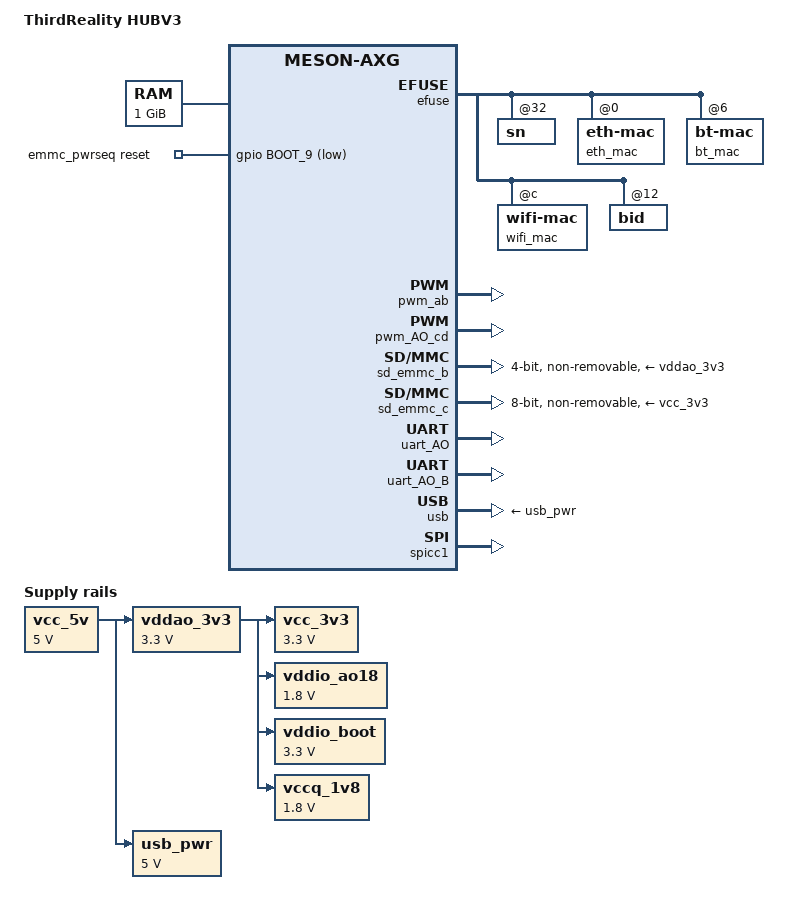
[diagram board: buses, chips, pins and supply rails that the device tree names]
// SPDX-License-Identifier: (GPL-2.0+ OR MIT)
/*
 * Copyright (c) 2024 ThirdReality, Inc.
 * Author: Tianwei Ge <gtweiiiii@gmail.com>
 */

/dts-v1/;

#include "meson-axg.dtsi"
#include <dt-bindings/input/input.h>
#include <dt-bindings/thermal/thermal.h>

/ {
	compatible = "thirdreality,hubv3", "amlogic,a113d", "amlogic,meson-axg";
	model = "ThirdReality HUBV3";

	aliases {
		serial0 = &uart_AO; /* Console */
		serial1 = &uart_A; /* Bluetooth */
		serial3 = &uart_AO_B; /* Zigbee */
	};

	/* 1024MB RAM */
	memory@0 {
		device_type = "memory";
		reg = <0x0 0x0 0x0 0x40000000>;
	};

	chosen {
		stdout-path = "serial0:115200n8";
	};

	reserved-memory {
		linux,cma {
			size = <0x0 0x400000>;
		};
	};

	emmc_pwrseq: emmc-pwrseq {
		compatible = "mmc-pwrseq-emmc";
		reset-gpios = <&gpio BOOT_9 GPIO_ACTIVE_LOW>;
	};

	vcc_3v3: regulator-vcc_3v3 {
		compatible = "regulator-fixed";
		regulator-name = "VCC_3V3";
		regulator-min-microvolt = <3300000>;
		regulator-max-microvolt = <3300000>;
		vin-supply = <&vddao_3v3>;
		regulator-always-on;
	};

	vcc_5v: regulator-vcc_5v {
		compatible = "regulator-fixed";
		regulator-name = "VCC5V";
		regulator-min-microvolt = <5000000>;
		regulator-max-microvolt = <5000000>;
		regulator-always-on;
	};

	vddao_3v3: regulator-vddao_3v3 {
		compatible = "regulator-fixed";
		regulator-name = "VDDAO_3V3";
		regulator-min-microvolt = <3300000>;
		regulator-max-microvolt = <3300000>;
		vin-supply = <&vcc_5v>;
		regulator-always-on;
	};

	vddio_ao18: regulator-vddio_ao18 {
		compatible = "regulator-fixed";
		regulator-name = "VDDIO_AO18";
		regulator-min-microvolt = <1800000>;
		regulator-max-microvolt = <1800000>;
		vin-supply = <&vddao_3v3>;
		regulator-always-on;
	};

	vddio_boot: regulator-vddio_boot {
		compatible = "regulator-fixed";
		regulator-name = "VDDIO_BOOT";
		regulator-min-microvolt = <3300000>;
		regulator-max-microvolt = <3300000>;
		vin-supply = <&vddao_3v3>;
		regulator-always-on;
	};

	vccq_1v8: regulator-vccq_1v8 {
		compatible = "regulator-fixed";
		regulator-name = "VCCQ_1V8";
		regulator-min-microvolt = <1800000>;
		regulator-max-microvolt = <1800000>;
		vin-supply = <&vddao_3v3>;
		regulator-always-on;
	};

	usb_pwr: regulator-usb_pwr {
		compatible = "regulator-fixed";
		regulator-name = "USB_PWR";
		regulator-min-microvolt = <5000000>;
		regulator-max-microvolt = <5000000>;
		vin-supply = <&vcc_5v>;
		regulator-always-on;
	};

	wifi_pwm_conf: wifi_pwm_conf {
		pwm_channel1_conf {
			pwms = <&pwm_AO_cd 0 30541 0>;
			duty-cycle = <15270>;
			times = <10>;
		};

		pwm_channel2_conf {
			pwms = <&pwm_AO_cd 2 30500 0>;
			duty-cycle = <15250>;
			times = <12>;
		};
	};

	aml_bt: aml_bt {
		status = "disabled";
		compatible = "amlogic, aml-bt";

		reset-gpios = <&gpio    GPIOX_21 GPIO_ACTIVE_HIGH>;
		btwakeup-gpios = <&gpio GPIOZ_7 GPIO_ACTIVE_HIGH>;
		hostwake-gpios = <&gpio GPIOZ_6 GPIO_ACTIVE_HIGH>;
	};

	aml_wifi: aml_wifi {
		status = "disabled";
		compatible = "amlogic, aml-wifi";
		irq_trigger_type = "GPIO_IRQ_LOW";
		pwm_config = <&wifi_pwm_conf>;

		interrupt-gpios = <&gpio  GPIOX_6  GPIO_ACTIVE_HIGH>;
		power_on-gpios = <&gpio   GPIOX_7  GPIO_ACTIVE_HIGH>;
	};

	thermal-zones {
		cpu_thermal: cpu-thermal {
			polling-delay-passive = <250>;
			polling-delay = <1000>;
			thermal-sensors = <&scpi_sensors 0>;
			trips {
				cpu_passive: cpu-passive {
					temperature = <70000>; /* millicelsius */
					hysteresis = <2000>; /* millicelsius */
					type = "passive";
				};

				cpu_hot: cpu-hot {
					temperature = <80000>; /* millicelsius */
					hysteresis = <2000>; /* millicelsius */
					type = "hot";
				};

				cpu_critical: cpu-critical {
					temperature = <100000>; /* millicelsius */
					hysteresis = <2000>; /* millicelsius */
					type = "critical";
				};
			};

			cpu_cooling_maps: cooling-maps {
				map0 {
					trip = <&cpu_passive>;
					cooling-device = <&cpu0 THERMAL_NO_LIMIT THERMAL_NO_LIMIT>,
							<&cpu1 THERMAL_NO_LIMIT THERMAL_NO_LIMIT>,
							<&cpu2 THERMAL_NO_LIMIT THERMAL_NO_LIMIT>,
							<&cpu3 THERMAL_NO_LIMIT THERMAL_NO_LIMIT>;
				};

				map1 {
					trip = <&cpu_hot>;
					cooling-device = <&cpu0 THERMAL_NO_LIMIT THERMAL_NO_LIMIT>,
							<&cpu1 THERMAL_NO_LIMIT THERMAL_NO_LIMIT>,
							<&cpu2 THERMAL_NO_LIMIT THERMAL_NO_LIMIT>,
							<&cpu3 THERMAL_NO_LIMIT THERMAL_NO_LIMIT>;
				};
			};
		};
	};
};

&efuse {
	sn: sn@32 {
		reg = <0x32 0x20>;
	};

	eth_mac: eth-mac@0 {
		reg = <0x0 0x6>;
	};

	bt_mac: bt-mac@6 {
		reg = <0x6 0x6>;
	};

	wifi_mac: wifi-mac@c {
		reg = <0xc 0x6>;
	};

	bid: bid@12 {
		reg = <0x12 0x20>;
	};
};

&pwm_ab {
	status = "okay";
	pinctrl-0 = <&pwm_a_x20_pins>;
	pinctrl-names = "default";
};

&pwm_AO_cd {
	status = "okay";
	pinctrl-0 = <&pwm_ao_c_ao8_pins>;
	pinctrl-names = "default";
};

/* wifi module */
&sd_emmc_b {
	status = "okay";
	#address-cells = <1>;
	#size-cells = <0>;

	pinctrl-0 = <&sdio_pins>;
	pinctrl-1 = <&sdio_clk_gate_pins>;
	pinctrl-names = "default", "clk-gate";

	bus-width = <4>;
	cap-sd-highspeed;
	sd-uhs-sdr12;
	sd-uhs-sdr25;
	sd-uhs-sdr50;
	//sd-uhs-sdr104;
	max-frequency = <50000000>;
	disable-wp;

	vmmc-supply = <&vddao_3v3>;
	vqmmc-supply = <&vccq_1v8>;

	non-removable;
	disable-wp;
	init_core_phase = <3>;
	init_tx_phase = <0>;
	no-mmc;
	no-sd;

	keep-power-in-suspend;
	mmc_debug_flag;
};

/* emmc storage */
&sd_emmc_c {
	status = "okay";
	pinctrl-0 = <&emmc_pins>, <&emmc_ds_pins>;
	pinctrl-1 = <&emmc_clk_gate_pins>;
	pinctrl-names = "default", "clk-gate";

	bus-width = <8>;
	cap-mmc-highspeed;
	max-frequency = <100000000>;
	non-removable;
	disable-wp;
	mmc-ddr-1_8v;
	mmc-hs200-1_8v;

	mmc-pwrseq = <&emmc_pwrseq>;

	vmmc-supply = <&vcc_3v3>;
	vqmmc-supply = <&vccq_1v8>;
};

/* UART Console */
&uart_AO {
	status = "okay";
	pinctrl-0 = <&uart_ao_a_pins>;
	pinctrl-names = "default";
};

/* Zigbee */
&uart_AO_B {
	status = "okay";
	pinctrl-0 = <&uart_ao_b_pins>;
	pinctrl-names = "default";
};

/* UART Bluetooth */
&uart_A {
	status = "disabled";
	pinctrl-0 = <&uart_a_pins>, <&uart_a_cts_rts_pins>;
	pinctrl-names = "default";
	uart-has-rtscts;
};

&usb {
	status = "okay";
	vbus-supply = <&usb_pwr>;
};

&spicc1 {
	status = "okay";
	pinctrl-0 = <&spi1_x_pins>, <&spi1_ss0_x_pins>;
	pinctrl-names = "default";
};

&gpio {
	gpio-line-names =
		"", "", "", "", "", // 0 - 4
		"", "", "", "", "", // 5 - 9
		"", "", "", "", "", // 10 - 14
		"", "", "", "", "", // 15 - 19
		"", "", "", "", "", // 20 - 24
		"", "", "", "", "", // 25 - 29
		"", "", "", "", "", // 30 - 34
		"", "", "", "", "", // 35 - 39
		"", "", "", "", "", // 40 - 44
		"", "", "", "", "", // 45 - 49
		"", "", "", "", "", // 50 - 54
		"", "", "", "", "", // 55 - 59
		"", "", "", "", "", // 60 - 64
		"", "", "", "", "", // 65 - 69
		"", "", "", "", "", // 70 - 74
		"", "", "", "", "", // 75 - 79
		"", "", "", "", "", // 80 - 84
		"", ""; // 85-86
};

&cpu0 {
	#cooling-cells = <2>;
};

&cpu1 {
	#cooling-cells = <2>;
};

&cpu2 {
	#cooling-cells = <2>;
};

&cpu3 {
	#cooling-cells = <2>;
};
